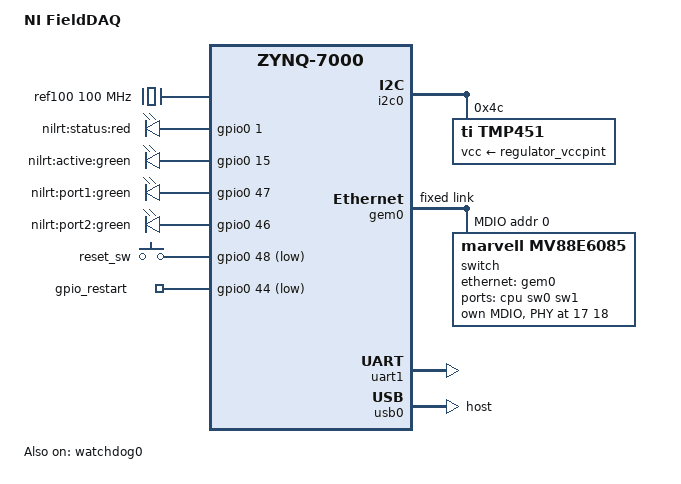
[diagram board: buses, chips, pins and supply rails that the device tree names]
/dts-v1/;
#include <dt-bindings/interrupt-controller/irq.h>
/include/ "ni-zynq.dtsi"
/* NIDEVCODE 7A07 */
/* NIDEVCODE 7945 */
/* NIDEVCODE 7A32 */
/* NIDEVCODE 79FF */
/* NIDEVCODE 7A1C */
/* NIDEVCODE 7943 */
/* NIDEVCODE 7941 */
/* NIDEVCODE 7001 */

/ {
	model = "NI FieldDAQ";
	compatible = "ni,zynq", "xlnx,zynq-7000";

	/*
	 * This 100MHz reference clock is actually the output of a Si514;
	 * However, we do not declare it in the device tree because it is
	 * steered in usermode, and therefore we don't want a kernel driver
	 * to attach to it.
	 */
	ref100: oscillator {
		compatible = "fixed-clock";
		#clock-cells = <0>;
		clock-frequency = <100000000>;
	};

	leds {
		compatible = "gpio-leds";

		/* "LED_USER_RED" is on GPIO1 */
		status {
			label = "nilrt:status:red";
			gpios = <&gpio0 1 0>;
			default-state = "on";
		};

		/* "LED_USER_GREEN" is on GPIO15 */
		active {
			label = "nilrt:active:green";
			gpios = <&gpio0 15 0>;
			default-state = "on";
		};

		/* "ZYNQ_LED0_P1" is on GPIO47 */
		port1 {
			label = "nilrt:port1:green";
			gpios = <&gpio0 47 0>;
			linux,default-trigger = "dsa-0:00:01:link";
		};

		/* "ZYNQ_LED0_P2" is on GPIO46 */
		port2 {
			label = "nilrt:port2:green";
			gpios = <&gpio0 46 0>;
			linux,default-trigger = "dsa-0:00:02:link";
		};
	};

	gpio_keys {
		compatible = "gpio-keys";
		#address-cells = <1>;
		#size-cells = <0>;

		/* Reset switch is on GPIO48 */
		reset_sw@0 {
			label = "reset_sw";
			gpios = <&gpio0 48 1 /* GPIO_ACTIVE_LOW */>;
			linux,code = <408>; /* KEY_RESTART */
			gpio-key,wakeup;
		};
	};

	gpio_restart {
		compatible = "gpio-restart";

		/* ~PS_FORCE_RESET is on GPIO44 */
		gpios = <&gpio0 44 1 /* GPIO_ACTIVE_LOW */>;
		priority = <200>;
	};

    si5351c: clock-generator@60 {
				compatible = "silabs,si5351c";
				reg = <0x60>;
				#address-cells = <1>;
				#size-cells = <0>;
				#clock-cells = <1>;

				clocks = <&ref100>;
				clock-names = "clkin";

				silabs,pll-source = <0 1>, <1 0>;
				silabs,pll-frequency = <0 737280000>;

				umber-btsi0 {
					reg = <0>;
					silabs,drive-strength = <8>;
					silabs,multisynth-source = <0>;
					silabs,clock-source = <0>;
					silabs,disable-state = <0>;
					clock-frequency = <12800000>;
				};

				umber-sysclk {
					reg = <1>;
					silabs,drive-strength = <8>;
					silabs,multisynth-source = <0>;
					silabs,clock-source = <0>;
					silabs,disable-state = <0>;
					clock-frequency = <80000000>;
				};

				umber-btsi1 {
					reg = <2>;
					silabs,drive-strength = <8>;
					silabs,multisynth-source = <0>;
					silabs,clock-source = <0>;
					silabs,disable-state = <0>;
					clock-frequency = <13107200>;
				};

				umber-btsi3 {
					reg = <4>;
					silabs,drive-strength = <8>;
					silabs,multisynth-source = <0>;
					silabs,clock-source = <0>;
					silabs,disable-state = <0>;
					clock-frequency = <10240000>;
				};

				umber-btsi4 {
					reg = <7>;
					silabs,drive-strength = <8>;
					silabs,multisynth-source = <0>;
					silabs,clock-source = <0>;
					silabs,disable-state = <0>;
					clock-frequency = <12288000>;
				};
			};
};

&i2c0 {
	/* Override ni-zynq.dtsi; we do not have a CPLD at 0x40. */
	nicpld@40 {
		status = "disabled";
	};

	tmp451@4C {
		compatible = "ti,tmp451";
		reg = <0x4C>;
		vcc-supply = <&regulator_vccpint>;
	};
};

&gem0 {
	status = "okay";
	#address-cells = <0x1>;
	#size-cells = <0x0>;

	fixed-link {
		speed = <1000>;
		full-duplex;
		reg = <0>;
	};

	mdio0: mdio {
		status = "okay";
	};
};

&mdio0 {
	#address-cells = <1>;
	#size-cells = <0>;

	switch: switch@0 {
		compatible = "marvell,mv88e6085";
		reg = <0x0>;
		status = "okay";
		interrupt-parent = <&intc>;
		interrupts = <45 IRQ_TYPE_LEVEL_LOW>;
		interrupt-controller;
		#interrupt-cells = <2>;

		ports {
			#address-cells = <1>;
			#size-cells = <0>;

			port@0 {
				reg = <0>;
				label = "cpu";
				phy-mode = "rgmii-id";
				ethernet = <&gem0>;
				fixed-link {
					speed = <1000>;
					full-duplex;
				};
			};

			port@1 {
				reg = <1>;
				label = "sw0";
				phy-handle = <&swphy1>;
			};

			port@2 {
				reg = <2>;
				label = "sw1";
				phy-handle = <&swphy2>;
			};
		};

		mdio {
			swphy1: ethernet-phy@11 {
				reg = <0x11>;
			};

			swphy2: ethernet-phy@12 {
				reg = <0x12>;
			};
		};
	};
};

&uart1 {
	status = "okay";
};

&usb0 {
	status = "okay";
	dr_mode = "host";
};

&watchdog0 {
	status = "okay";
	reset-on-timeout;
};
